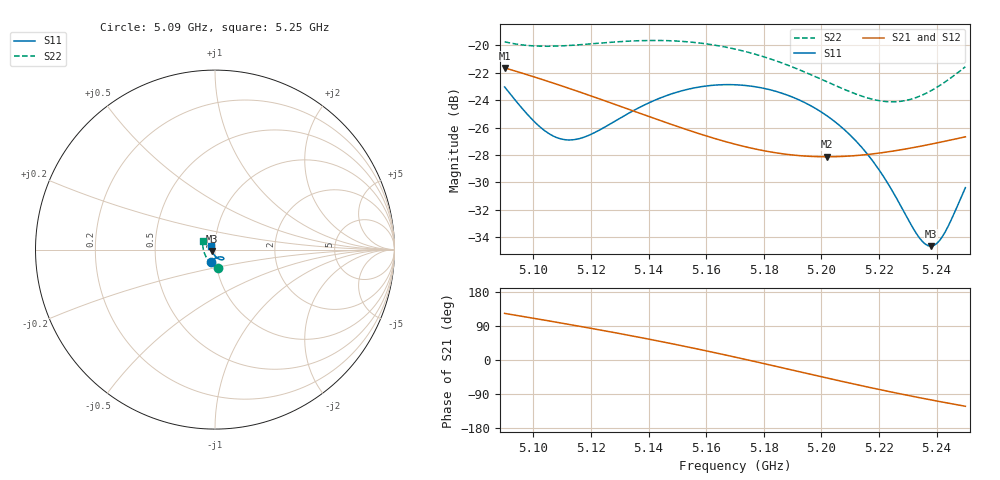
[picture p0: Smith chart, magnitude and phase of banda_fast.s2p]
! Touchstone file exported from HFSS 2024.2.0
!  File:  D:/dev/EMBRAER/P2M21/R13_Casamento_Banda/c12_raiz_intermediaria/P2M21_4_elementos.aedt
!  Generated:  02:32:27 AM Nov 10, 2026
!  Design:  Quatro_elementos
!  Project:  P2M21_4_elementos
!  Setup:  Centro
!  Solution:  Banda_Fast
# GHz S RI R 50.000000
! Terminal data exported
! Port[1] = A
! Port[2] = B
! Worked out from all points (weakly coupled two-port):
!   161 points, 5.09 GHz to 5.25 GHz, reference 50 ohm
!   highest |S21| = -21.64 dB at 5.09 GHz (marker M1); lowest = -28.1 dB at 5.202 GHz (marker M2)
!   lowest |S11| = -34.6 dB at 5.238 GHz (marker M3), VSWR 1.04, Z = 48.3 - j0.683 ohm
!   |S11| at or under -10 dB: start of sweep to end of sweep
!   |S22| runs from -24.1 to -19.6 dB; largest |S21 - S12| = 1.5e-15
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5.09  -0.0238 -0.0664  -0.0451 0.0694  -0.0451 0.0694  0.0181 -0.1014
! Gamma 0 0 0 0
! Port Impedance 50 0 50 0
5.099  -0.00834 -0.0538  -0.0284 0.0721  -0.0284 0.0721  0.0264 -0.0961
5.105  0.00174 -0.0479  -0.0175 0.0718  -0.0175 0.0718  0.031 -0.0943
5.111  0.0113 -0.0439  -0.00708 0.0701  -0.00708 0.0701  0.0346 -0.0935
5.117  0.0201 -0.0414  0.00269 0.067  0.00269 0.067  0.0372 -0.0935
5.144  0.0461 -0.0447  0.0348 0.0403  0.0348 0.0403  0.0343 -0.0983
5.157  0.0492 -0.0502  0.0418 0.0232  0.0418 0.0232  0.0244 -0.0992
5.17  0.0463 -0.055  0.0432 0.00585  0.0432 0.00585  0.0103 -0.0964
5.184  0.0373 -0.0569  0.039 -0.0114  0.039 -0.0114  -0.00815 -0.0876
5.197  0.0251 -0.0541  0.0306 -0.0247  0.0306 -0.0247  -0.0262 -0.0731
5.202  0.0198 -0.0516  0.0264 -0.029  0.0264 -0.029  -0.0329 -0.0658
5.208  0.0132 -0.0474  0.0209 -0.0334  0.0209 -0.0334  -0.0407 -0.0558
5.214  0.00652 -0.042  0.015 -0.0369  0.015 -0.0369  -0.0478 -0.0445
5.219  0.00104 -0.0364  0.0097 -0.0392  0.0097 -0.0392  -0.0532 -0.0341
5.224  -0.00425 -0.0299  0.00425 -0.0408  0.00425 -0.0408  -0.0579 -0.0228
5.229  -0.00924 -0.0226  -0.00133 -0.0418  -0.00133 -0.0418  -0.0619 -0.0107
5.234  -0.0138 -0.0143  -0.00696 -0.0422  -0.00696 -0.0422  -0.0651 0.00206
5.236  -0.0155 -0.0107  -0.00922 -0.0422  -0.00922 -0.0422  -0.0662 0.00737
5.238  -0.0171 -0.00706  -0.0115 -0.0421  -0.0115 -0.0421  -0.0671 0.0128
5.24  -0.0186 -0.00325  -0.0137 -0.0419  -0.0137 -0.0419  -0.0678 0.0183
5.243  -0.0207 0.00271  -0.017 -0.0414  -0.017 -0.0414  -0.0686 0.0268
5.25  -0.0246 0.0177  -0.0247 -0.0393  -0.0247 -0.0393  -0.0689 0.0472
